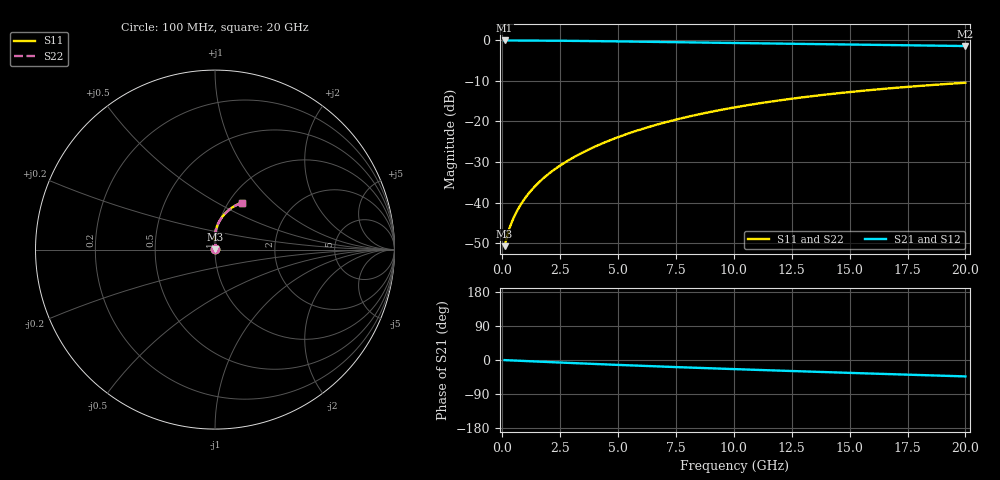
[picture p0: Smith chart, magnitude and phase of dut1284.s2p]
! Touchstone file exported from HFSS 2024.1.0
!  File:  C:/UserFiles/LocalFiles/RDL_TSV_Batchsim/temp_RDL_top_1284_1780242658.aedt
!  Generated:  11:52:57 PM May 31, 2026
!  Design:  RDL_top
!  Project:  temp_RDL_top_1284_1780242658
!  Setup:  Setup1
!  Solution:  Sweep
! Variables:
!  dtsv = 10.80580581um
!  hbump = 3um
!  htsv = 79.38um
!  ldown = 100um
!  lrdl = 667.79um
!  p = 40
!  p1 = 49.14um
!  rhole = 1um
!  t = 450um
!  tdown = 3.915915916um
!  trdl = 3.62um
!  wdown = 15.38538539um
!  wrdl = 28.68um
# GHz S MA R 50.000000
! Terminal data exported
! Port[1] = Box2_T1
! Port[2] = Box2_T2
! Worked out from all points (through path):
!   200 points, 100 MHz to 20 GHz, reference 50 ohm
!   highest |S21| = -0.02 dB at 100 MHz (marker M1); lowest = -1.4 dB at 20 GHz (marker M2)
!   group delay of S21, straight-line fit = 5.92 ps
!   lowest |S11| = -50.8 dB at 100 MHz (marker M3), VSWR 1.01, Z = 50.3 + j0.139 ohm
!   |S11| at or under -10 dB: start of sweep to end of sweep
!   |S22| runs from -50.8 to -10.5 dB; largest |S21 - S12| = 2.7e-15
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0.1  0.002894 28.6  0.9974 -0.3  0.9974 -0.3  0.002894 28.6
! Gamma 0 0 0 0
! Port Impedance 50 0 50 0
0.2  0.003792 43.6  0.9972 -0.6  0.9972 -0.6  0.003793 43.6
0.3  0.004726 51.9  0.9969 -0.8  0.9969 -0.8  0.004727 51.9
0.4  0.005645 57.7  0.9967 -1.1  0.9967 -1.1  0.005646 57.6
0.5  0.006569 62.1  0.9965 -1.4  0.9965 -1.4  0.00657 62.1
0.8  0.009457 71.4  0.9958 -2.2  0.9958 -2.2  0.009458 71.3
1  0.01148 75.4  0.9953 -2.7  0.9953 -2.7  0.01148 75.3
1.2  0.01358 78.4  0.9948 -3.3  0.9948 -3.3  0.01358 78.3
1.7  0.01908 83.5  0.993 -4.6  0.993 -4.6  0.01907 83.4
2.2  0.02492 86.6  0.9907 -5.9  0.9907 -5.9  0.02491 86.5
2.8  0.0324 89.0  0.9874 -7.5  0.9874 -7.5  0.03238 88.9
3.5  0.04177 90.5  0.9828 -9.3  0.9828 -9.3  0.04173 90.4
4.2  0.0518 91.2  0.9777 -11.0  0.9777 -11.0  0.05173 91.1
5  0.06397 91.2  0.9713 -13.0  0.9713 -13.0  0.06387 91.1
5.9  0.0784 90.5  0.9636 -15.1  0.9636 -15.1  0.07826 90.4
6.8  0.09341 89.3  0.9558 -17.1  0.9558 -17.1  0.09322 89.2
8.4  0.1209 86.3  0.9419 -20.7  0.9419 -20.7  0.1206 86.2
10.1  0.1502 82.6  0.9275 -24.2  0.9275 -24.2  0.1499 82.5
11.7  0.1774 78.9  0.9143 -27.5  0.9143 -27.5  0.177 78.8
13.4  0.2053 74.9  0.9007 -30.9  0.9007 -30.9  0.2048 74.8
16.7  0.2557 67.5  0.8753 -37.2  0.8753 -37.2  0.255 67.3
20  0.3003 60.5  0.8511 -43.3  0.8511 -43.3  0.2995 60.3
